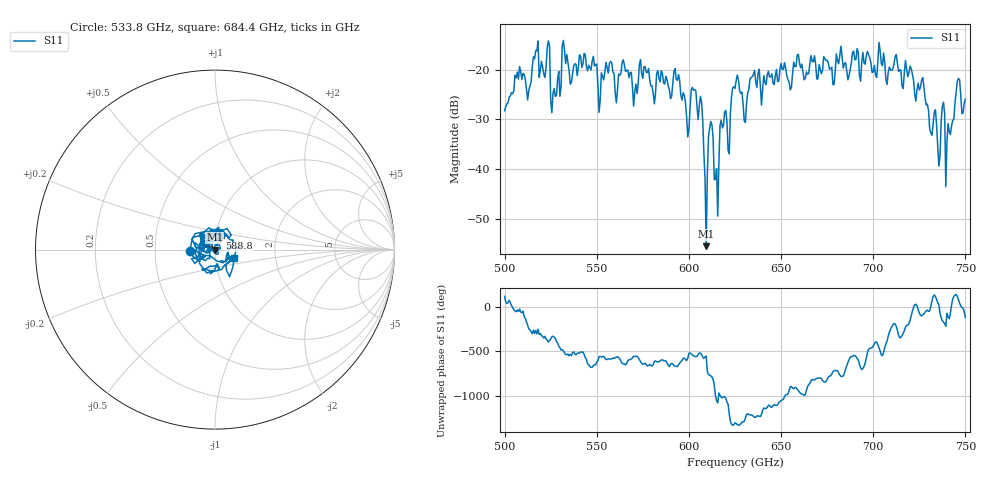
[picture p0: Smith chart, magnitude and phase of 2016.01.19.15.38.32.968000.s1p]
!Created with skrf (http://scikit-rf.org).
# GHz S RI R 50.0
!freq ReS11 ImS11
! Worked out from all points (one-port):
!   401 points, 500 GHz to 750 GHz, reference 50 ohm
!   lowest |S11| = -55.4 dB at 609.4 GHz (marker M1), VSWR 1.00, Z = 49.8 + j0.0378 ohm
!   |S11| at or under -10 dB: start of sweep to end of sweep
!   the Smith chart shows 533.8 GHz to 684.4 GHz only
!   S11 on the Smith chart (normalised r, x): 533.8 GHz: 0.75, -0.01; 588.8 GHz: 1.05, +0.13; 684.4 GHz: 1.23, -0.12
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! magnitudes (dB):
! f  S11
! 500 GHz  -28.3
! 513.1 GHz  -24.2
! 516.9 GHz  -16.2
! 523.1 GHz  -15.5
! 526.2 GHz  -24.8
! 531.2 GHz  -15.3
! 533.8 GHz  -17.0
! 562.5 GHz  -21.1
! 588.8 GHz  -23.2
! 593.8 GHz  -22.2
! 599.4 GHz  -33.5
! 606.2 GHz  -25.4
! 609.4 GHz  -55.4
! 611.9 GHz  -30.4
! 615 GHz  -39.8
! 618.1 GHz  -31.7
! 621.9 GHz  -36.9
! 625 GHz  -23.8
! 630.6 GHz  -30.6
! 634.4 GHz  -21.4
! 656.2 GHz  -20.8
! 684.4 GHz  -18.8
! 687.5 GHz  -20.0
! 718.8 GHz  -21.4
! 735.6 GHz  -39.4
! 740.6 GHz  -30.8
! 745.6 GHz  -22.3
! 750 GHz  -25.9
